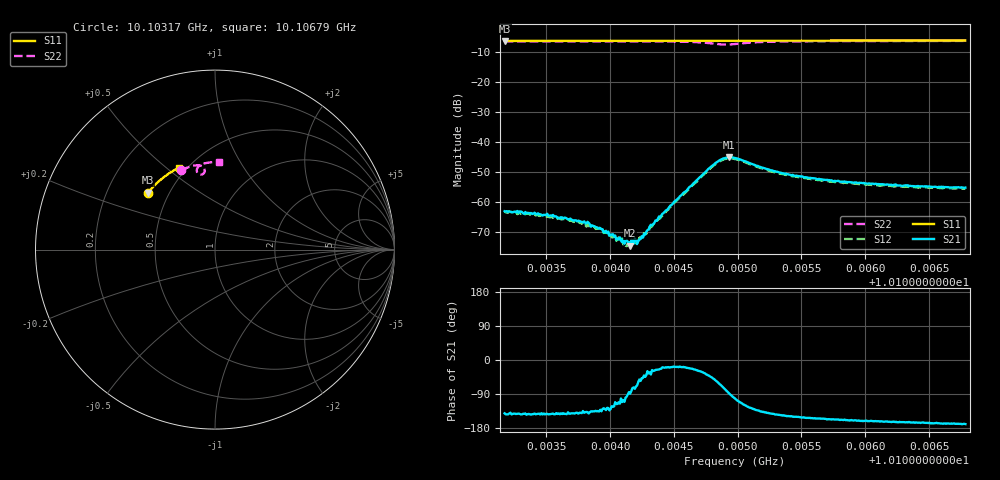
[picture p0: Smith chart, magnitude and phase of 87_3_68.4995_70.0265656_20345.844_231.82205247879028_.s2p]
#  HZ  S  RI  R  50.00
! Rohde & Schwarz Vector Network Analyzer
! Rohde-Schwarz,ZNB20-2Port,1311601062101988,3.16
! Created: UTC 3/20/2024, 4:52:24 PM
! freq[Hz]  re:S11  im:S11  re:S21  im:S21  re:S12  im:S12  re:S22  im:S22
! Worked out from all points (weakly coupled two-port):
!   401 points, 10.10317 GHz to 10.10679 GHz, reference 50 ohm
!   highest |S21| = -45.03 dB at 10.10493 GHz (marker M1); lowest = -74.5 dB at 10.10416 GHz (marker M2)
!   lowest |S11| = -6.2 dB at 10.10317 GHz (marker M3), VSWR 2.91, Z = 19.2 + j16 ohm
!   |S11| at or under -10 dB: nowhere
!   |S22| runs from -7.4 to -6.2 dB; largest |S21 - S12| = 0.00057
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1.0103173e10  -0.3712 0.318  -0.000546 -0.000446  -0.000524 -0.000464  -0.1875 0.4432
1.0103517e10  -0.3581 0.3342  -0.000475 -0.000353  -0.000419 -0.000396  -0.1661 0.4527
1.0103679e10  -0.3515 0.3418  -0.000403 -0.000319  -0.000371 -0.000331  -0.1557 0.4564
1.0103778e10  -0.3476 0.3463  -0.00036 -0.000302  -0.000301 -0.000314  -0.1491 0.459
1.0103923e10  -0.3415 0.3526  -0.000245 -0.000278  -0.000203 -0.00027  -0.1392 0.4623
1.0103995e10  -0.3387 0.3559  -0.000188 -0.000203  -0.000137 -0.000237  -0.1341 0.4637
1.0104076e10  -0.3351 0.3595  -0.000111 -0.000234  -6.59e-05 -0.000222  -0.1281 0.4653
1.0104122e10  -0.3332 0.3614  -3.71e-05 -0.000221  -1.33e-05 -0.000188  -0.1246 0.4661
1.0104158e10  -0.3316 0.363  3.67e-06 -0.000187  4.75e-05 -0.000194  -0.1218 0.4668
1.010423e10  -0.3285 0.366  0.000147 -0.000185  0.00016 -0.0002  -0.1161 0.468
1.0104266e10  -0.327 0.3676  0.000223 -0.000192  0.000234 -0.000195  -0.113 0.4685
1.0104302e10  -0.3255 0.3691  0.000287 -0.000205  0.000265 -0.000177  -0.1099 0.4691
1.0104383e10  -0.3217 0.3725  0.000522 -0.000244  0.00049 -0.000199  -0.1026 0.4697
1.0104501e10  -0.3166 0.3774  0.000963 -0.000297  0.000934 -0.000228  -0.0907 0.4696
1.0104781e10  -0.3036 0.3885  0.00275 -0.00252  0.00284 -0.00217  -0.0578 0.4451
1.0104871e10  -0.2994 0.3918  0.00201 -0.00473  0.00228 -0.00438  -0.0653 0.4227
1.0104934e10  -0.2966 0.394  0.000157 -0.0056  0.000637 -0.00535  -0.0836 0.4179
1.0104979e10  -0.2947 0.3959  -0.0011 -0.00536  -0.000626 -0.00517  -0.0949 0.4241
1.0105268e10  -0.2809 0.407  -0.00266 -0.00209  -0.00235 -0.00222  -0.0872 0.467
1.0105584e10  -0.2654 0.4181  -0.00226 -0.00113  -0.00205 -0.00125  -0.0604 0.4797
1.0106189e10  -0.2345 0.4379  -0.00185 -0.00057  -0.00173 -0.000703  -0.0164 0.4874
1.0106785e10  -0.2026 0.455  -0.00171 -0.00033  -0.0016 -0.000472  0.0236 0.4893
